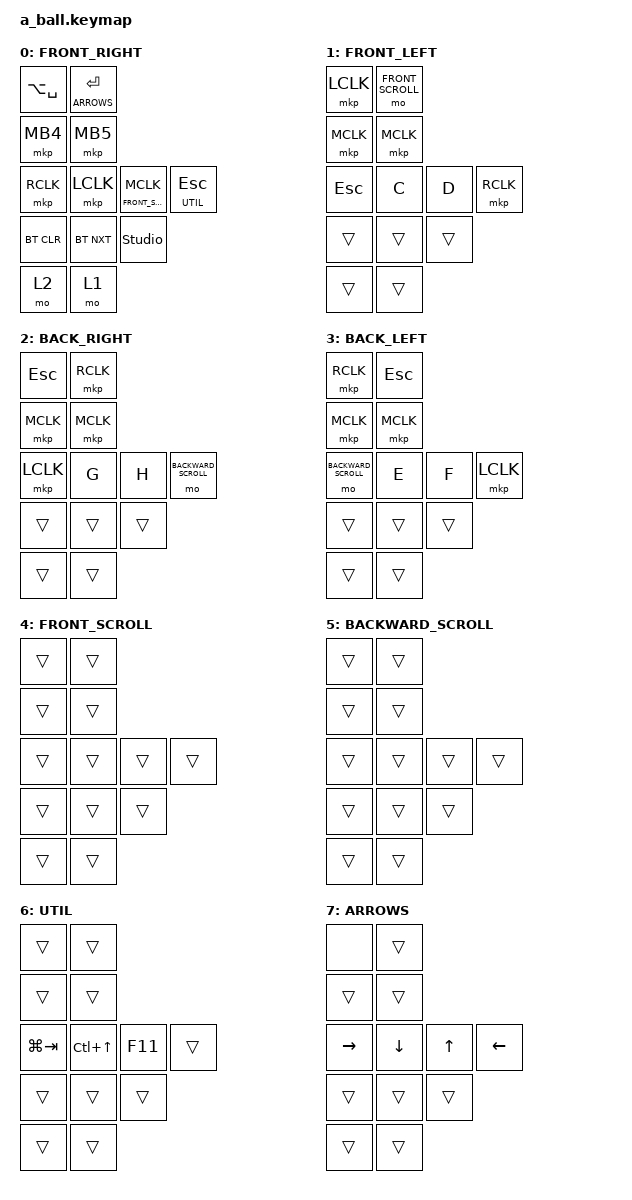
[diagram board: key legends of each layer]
#include <behaviors.dtsi>
#include <dt-bindings/zmk/keys.h>
#include <dt-bindings/zmk/bt.h>
#include <dt-bindings/zmk/outputs.h>
#include <dt-bindings/zmk/mouse.h>
#include <dt-bindings/zmk/ext_power.h>

#define FRONT_RIGHT 0
#define FRONT_LEFT 1
#define BACK_RIGHT 2
#define BACK_LEFT 3
#define FRONT_SCROLL 4
#define BACKWARD_SCROLL 5
#define UTIL 6
#define ARROWS 7

#define ZMK_POINTING_DEFAULT_MOVE_VAL 1000  // default: 600
#define ZMK_POINTING_DEFAULT_SCRL_VAL 4     // default: 10

/ {
    behaviors {
        lt_mkp: layer_tap_mkp {
            compatible = "zmk,behavior-hold-tap";
            #binding-cells = <2>;
            flavor = "balanced";
            tapping-term-ms = <200>;
            bindings = <&mo>, <&mkp>;
        };
    };

    keymap {
        compatible = "zmk,keymap";

// Physical layout (thumb-right, ball at south):
//
// ┌──────────┬──────────┐┌──────────┬──────────┐
// │ Top Left │Inner Left││InnerRight│Top Right │
// ├──────────┴──────────┘└──────────┴──────────┤
// │ Mid Left │                      │Mid Right │
// ├──────────┘                      └──────────┤
// │ Bot Left │                      │Bot Right │
// └──────────┘                      └──────────┘
//                  (ball)
//
// Binding order: BotR, BotL, MidL, MidR, TopR, InnerL, InnerR, TopL

	// Layer 0 - main
        FRONT_RIGHT {
            bindings = <
		&kp LA(SPACE)					&lt ARROWS ENTER
		&mkp MB4					&mkp MB5
		&mkp RCLK	&mkp LCLK    &lt_mkp FRONT_SCROLL MCLK	&lt UTIL ESC
               /* Orientation (Front/Backward)   Handiness L/R     */
   		  &bt BT_CLR  &bt BT_NXT   &studio_unlock
               /* Orientation (Front/Backward)   Handiness L/R     */
			&mo 2                   &mo 1
            >;
        };

	// Layer 1
        FRONT_LEFT {
            bindings = <
		&mkp LCLK 				&mo FRONT_SCROLL
		&mkp MCLK				&mkp MCLK
		&kp ESC      &kp C    &kp D		&mkp RCLK
		            &trans &trans &trans
			&trans                  &trans
            >;
        };

	// Layer 2
        BACK_RIGHT {
            bindings = <
		&kp ESC         			&mkp RCLK
		&mkp MCLK  				&mkp MCLK
		&mkp LCLK 	&kp G    &kp H		&mo BACKWARD_SCROLL
		            &trans &trans &trans
			&trans                 &trans
            >;
        };

	// Layer 3
        BACK_LEFT {
            bindings = <
		&mkp RCLK				&kp ESC
		&mkp MCLK				&mkp MCLK
		&mo BACKWARD_SCROLL     &kp E    &kp F	&mkp LCLK
		            &trans &trans &trans
			&trans                 &trans
            >;
         };

	// Scroll layers - transparent, detected by trackball_listener
/* 4 */ FRONT_SCROLL  	    {bindings = <&trans &trans &trans &trans &trans &trans &trans &trans &trans &trans &trans &trans &trans>;};
/* 5 */ BACKWARD_SCROLL     {bindings = <&trans &trans &trans &trans &trans &trans &trans &trans &trans &trans &trans &trans &trans>;};

	// Layer 6 - UTIL (hold top left)
	// Top left + inner left = mission control
	// Top left + inner right = show desktop
	// Top left + top right = app switcher
        UTIL {
            bindings = <
		&trans					&trans
		&trans					&trans
		&kp LG(TAB)	&kp LC(UP)    &kp F11	&trans
		            &trans &trans &trans
			&trans                 &trans
            >;
        };

	// Layer 7 - ARROWS (hold bot left)
	// Bot left + top left = left
	// Bot left + inner left = down
	// Bot left + inner right = up
	// Bot left + top right = right
        ARROWS {
            bindings = <
		&none					&trans
		&trans					&trans
		&kp RIGHT	&kp DOWN    &kp UP	&kp LEFT
		            &trans &trans &trans
			&trans                 &trans
            >;
        };

        extra1 {status = "reserved";};
        extra2 {status = "reserved";};
        extra3 {status = "reserved";};
        extra4 {status = "reserved";};
        extra5 {status = "reserved";};
        extra6  {status = "reserved";};

     };

    conditional_layers {
        compatible = "zmk,conditional-layers";
        tri_layer {
            if-layers = <FRONT_LEFT BACK_RIGHT>;
            then-layer = <BACK_LEFT>;
        };
    };

};
